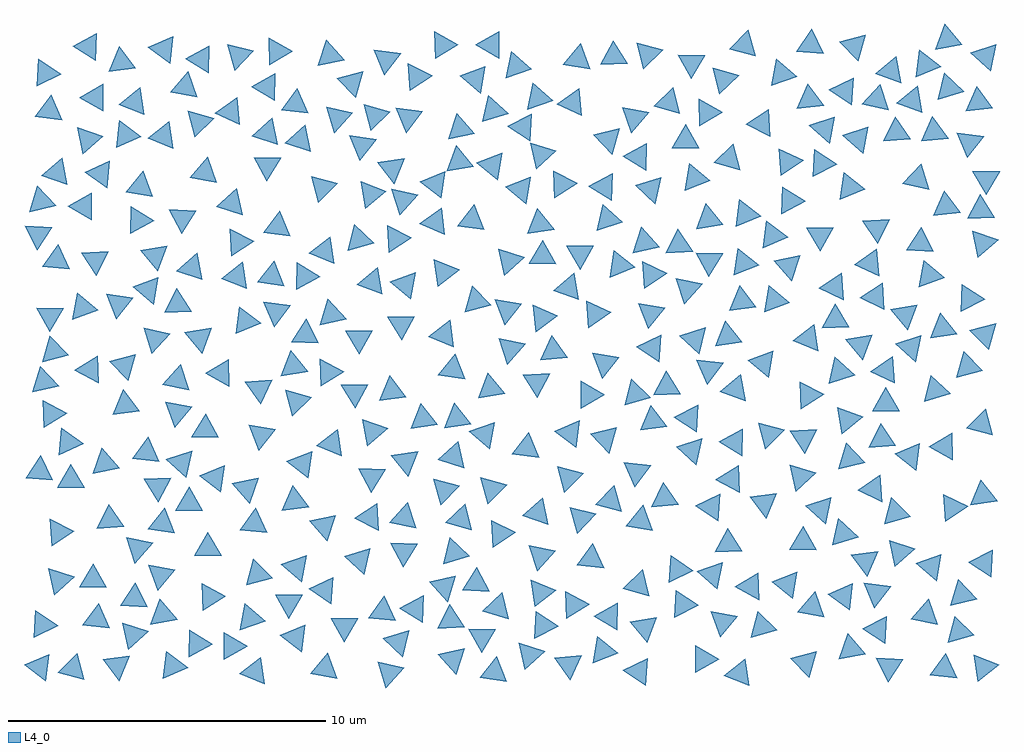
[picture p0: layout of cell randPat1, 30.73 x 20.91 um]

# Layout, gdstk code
from math import pi, radians
import gdstk
lib = gdstk.Library(unit=1e-6, precision=1e-09)
def P(c, l, *ps):  # polygons
    for p in ps: c.add(gdstk.Polygon(p, *l))
L4_0 = (4, 0)

triangles = lib.new_cell('triangles')
P(triangles, L4_0, [(-0.25,-0.433),(-0.25,0.433),(0.5,0)])

randpat1 = lib.new_cell('randPat1')
randpat1.add(gdstk.Reference(triangles, (0.125,13.855), rotation=radians(26.7152)))
randpat1.add(gdstk.Reference(triangles, (0.175,0.241), rotation=radians(172.374)))
randpat1.add(gdstk.Reference(triangles, (0.178,6.396), rotation=radians(205.8935)))
randpat1.add(gdstk.Reference(triangles, (0.214,14.897), rotation=radians(223.3545)))
randpat1.add(gdstk.Reference(triangles, (0.258,1.566), rotation=radians(356.6367)))
randpat1.add(gdstk.Reference(triangles, (0.304,9.22), rotation=radians(103.409)))
randpat1.add(gdstk.Reference(triangles, (0.351,18.929), rotation=radians(236.4467)))
randpat1.add(gdstk.Reference(triangles, (0.478,17.75), rotation=radians(82.8736)))
randpat1.add(gdstk.Reference(triangles, (0.493,11.283), rotation=radians(268.7901)))
randpat1.add(gdstk.Reference(triangles, (0.542,8.203), rotation=radians(241.9927)))
randpat1.add(gdstk.Reference(triangles, (0.613,10.176), rotation=radians(344.5996)))
randpat1.add(gdstk.Reference(triangles, (0.715,13.044), rotation=radians(204.7631)))
randpat1.add(gdstk.Reference(triangles, (0.72,15.786), rotation=radians(310.8337)))
randpat1.add(gdstk.Reference(triangles, (0.769,4.474), rotation=radians(3.4951)))
randpat1.add(gdstk.Reference(triangles, (0.788,2.965), rotation=radians(252.5797)))
randpat1.add(gdstk.Reference(triangles, (1.064,7.311), rotation=radians(354.267)))
randpat1.add(gdstk.Reference(triangles, (1.154,6.121), rotation=radians(210.1675)))
randpat1.add(gdstk.Reference(triangles, (1.231,0.182), rotation=radians(314.9319)))
randpat1.add(gdstk.Reference(triangles, (1.523,11.546), rotation=radians(110.4138)))
randpat1.add(gdstk.Reference(triangles, (1.563,14.733), rotation=radians(300.2675)))
randpat1.add(gdstk.Reference(triangles, (1.69,16.847), rotation=radians(131.0085)))
randpat1.add(gdstk.Reference(triangles, (1.708,19.766), rotation=radians(298.1047)))
randpat1.add(gdstk.Reference(triangles, (1.764,9.587), rotation=radians(301.8776)))
randpat1.add(gdstk.Reference(triangles, (1.857,2.982), rotation=radians(328.8467)))
randpat1.add(gdstk.Reference(triangles, (1.921,13.049), rotation=radians(32.9396)))
randpat1.add(gdstk.Reference(triangles, (1.921,18.159), rotation=radians(299.8303)))
randpat1.add(gdstk.Reference(triangles, (1.977,1.748), rotation=radians(202.9477)))
randpat1.add(gdstk.Reference(triangles, (2.097,15.76), rotation=radians(174.7356)))
randpat1.add(gdstk.Reference(triangles, (2.219,6.647), rotation=radians(101.1628)))
randpat1.add(gdstk.Reference(triangles, (2.385,4.858), rotation=radians(94.109)))
randpat1.add(gdstk.Reference(triangles, (2.614,0.281), rotation=radians(157.6146)))
randpat1.add(gdstk.Reference(triangles, (2.659,11.671), rotation=radians(261.5371)))
randpat1.add(gdstk.Reference(triangles, (2.741,19.278), rotation=radians(217.0076)))
randpat1.add(gdstk.Reference(triangles, (2.841,9.728), rotation=radians(44.7142)))
randpat1.add(gdstk.Reference(triangles, (2.865,8.475), rotation=radians(337.3631)))
randpat1.add(gdstk.Reference(triangles, (2.878,16.983), rotation=radians(233.3643)))
randpat1.add(gdstk.Reference(triangles, (3.11,1.247), rotation=radians(131.8161)))
randpat1.add(gdstk.Reference(triangles, (3.156,2.382), rotation=radians(86.5695)))
randpat1.add(gdstk.Reference(triangles, (3.158,18.012), rotation=radians(308.319)))
randpat1.add(gdstk.Reference(triangles, (3.269,3.979), rotation=radians(258.5452)))
randpat1.add(gdstk.Reference(triangles, (3.281,14.295), rotation=radians(358.1466)))
randpat1.add(gdstk.Reference(triangles, (3.345,15.355), rotation=radians(200.4113)))
randpat1.add(gdstk.Reference(triangles, (3.538,6.987), rotation=radians(204.0079)))
randpat1.add(gdstk.Reference(triangles, (3.591,12.112), rotation=radians(170.3028)))
randpat1.add(gdstk.Reference(triangles, (3.806,13.18), rotation=radians(39.3072)))
randpat1.add(gdstk.Reference(triangles, (3.813,10.575), rotation=radians(257.6172)))
randpat1.add(gdstk.Reference(triangles, (3.889,5.92), rotation=radians(271.8683)))
randpat1.add(gdstk.Reference(triangles, (3.975,3.129), rotation=radians(139.8264)))
randpat1.add(gdstk.Reference(triangles, (4.04,4.755), rotation=radians(201.5518)))
randpat1.add(gdstk.Reference(triangles, (4.041,1.89), rotation=radians(100.7159)))
randpat1.add(gdstk.Reference(triangles, (4.07,16.944), rotation=radians(308.1026)))
randpat1.add(gdstk.Reference(triangles, (4.077,19.686), rotation=radians(53.9081)))
randpat1.add(gdstk.Reference(triangles, (4.351,0.264), rotation=radians(232.8421)))
randpat1.add(gdstk.Reference(triangles, (4.51,8.254), rotation=radians(259.9733)))
randpat1.add(gdstk.Reference(triangles, (4.515,9.274), rotation=radians(78.1505)))
randpat1.add(gdstk.Reference(triangles, (4.516,11.65), rotation=radians(92.326)))
randpat1.add(gdstk.Reference(triangles, (4.639,6.665), rotation=radians(287.8964)))
randpat1.add(gdstk.Reference(triangles, (4.662,14.372), rotation=radians(147.5859)))
randpat1.add(gdstk.Reference(triangles, (4.763,18.493), rotation=radians(199.0092)))
randpat1.add(gdstk.Reference(triangles, (4.88,5.401), rotation=radians(209.4155)))
randpat1.add(gdstk.Reference(triangles, (4.969,12.794), rotation=radians(71.3206)))
randpat1.add(gdstk.Reference(triangles, (5.127,0.957), rotation=radians(118.3928)))
randpat1.add(gdstk.Reference(triangles, (5.187,17.385), rotation=radians(134.8239)))
randpat1.add(gdstk.Reference(triangles, (5.2,10.594), rotation=radians(39.7739)))
randpat1.add(gdstk.Reference(triangles, (5.253,19.367), rotation=radians(58.9335)))
randpat1.add(gdstk.Reference(triangles, (5.374,15.801), rotation=radians(79.6522)))
randpat1.add(gdstk.Reference(triangles, (5.384,7.709), rotation=radians(328.6151)))
randpat1.add(gdstk.Reference(triangles, (5.47,3.98), rotation=radians(209.8052)))
randpat1.add(gdstk.Reference(triangles, (5.538,2.441), rotation=radians(241.9711)))
randpat1.add(gdstk.Reference(triangles, (5.688,6.19), rotation=radians(52.3103)))
randpat1.add(gdstk.Reference(triangles, (5.884,9.478), rotation=radians(180.7064)))
randpat1.add(gdstk.Reference(triangles, (6.184,17.714), rotation=radians(64.8176)))
randpat1.add(gdstk.Reference(triangles, (6.222,0.894), rotation=radians(359.6728)))
randpat1.add(gdstk.Reference(triangles, (6.223,14.83), rotation=radians(72.3226)))
randpat1.add(gdstk.Reference(triangles, (6.385,12.529), rotation=radians(188.3604)))
randpat1.add(gdstk.Reference(triangles, (6.431,19.495), rotation=radians(255.6452)))
randpat1.add(gdstk.Reference(triangles, (6.435,13.61), rotation=radians(122.8261)))
randpat1.add(gdstk.Reference(triangles, (6.646,11.119), rotation=radians(112.9724)))
randpat1.add(gdstk.Reference(triangles, (6.69,5.862), rotation=radians(281.3253)))
randpat1.add(gdstk.Reference(triangles, (6.801,1.765), rotation=radians(349.2717)))
randpat1.add(gdstk.Reference(triangles, (6.93,4.749), rotation=radians(84.1623)))
randpat1.add(gdstk.Reference(triangles, (6.947,0.081), rotation=radians(187.7616)))
randpat1.add(gdstk.Reference(triangles, (7.029,3.153), rotation=radians(224.4428)))
randpat1.add(gdstk.Reference(triangles, (7.085,8.996), rotation=radians(34.6934)))
randpat1.add(gdstk.Reference(triangles, (7.146,7.538), rotation=radians(261.0694)))
randpat1.add(gdstk.Reference(triangles, (7.335,18.493), rotation=radians(58.3348)))
randpat1.add(gdstk.Reference(triangles, (7.34,17.045), rotation=radians(71.1589)))
randpat1.add(gdstk.Reference(triangles, (7.341,16.024), rotation=radians(268.2663)))
randpat1.add(gdstk.Reference(triangles, (7.484,12.532), rotation=radians(201.9083)))
randpat1.add(gdstk.Reference(triangles, (7.617,11.425), rotation=radians(263.0262)))
randpat1.add(gdstk.Reference(triangles, (7.647,19.607), rotation=radians(0.7292)))
randpat1.add(gdstk.Reference(triangles, (7.669,14.095), rotation=radians(322.0382)))
randpat1.add(gdstk.Reference(triangles, (8.019,2.257), rotation=radians(29.2859)))
randpat1.add(gdstk.Reference(triangles, (8.156,9.703), rotation=radians(339.0074)))
randpat1.add(gdstk.Reference(triangles, (8.198,5.454), rotation=radians(97.1014)))
randpat1.add(gdstk.Reference(triangles, (8.228,17.962), rotation=radians(324.0767)))
randpat1.add(gdstk.Reference(triangles, (8.231,1.165), rotation=radians(51.9635)))
randpat1.add(gdstk.Reference(triangles, (8.251,8.603), rotation=radians(254.6403)))
randpat1.add(gdstk.Reference(triangles, (8.257,3.377), rotation=radians(288.9064)))
randpat1.add(gdstk.Reference(triangles, (8.376,16.827), rotation=radians(71.5611)))
randpat1.add(gdstk.Reference(triangles, (8.437,6.632), rotation=radians(51.6453)))
randpat1.add(gdstk.Reference(triangles, (8.507,12.529), rotation=radians(118.5283)))
randpat1.add(gdstk.Reference(triangles, (8.541,10.692), rotation=radians(207.6822)))
randpat1.add(gdstk.Reference(triangles, (9.072,15.331), rotation=radians(255.4131)))
randpat1.add(gdstk.Reference(triangles, (9.129,4.676), rotation=radians(41.7144)))
randpat1.add(gdstk.Reference(triangles, (9.133,13.319), rotation=radians(67.8879)))
randpat1.add(gdstk.Reference(triangles, (9.136,2.653), rotation=radians(295.4017)))
randpat1.add(gdstk.Reference(triangles, (9.157,0.189), rotation=radians(199.5003)))
randpat1.add(gdstk.Reference(triangles, (9.264,9.505), rotation=radians(2.0521)))
randpat1.add(gdstk.Reference(triangles, (9.298,19.496), rotation=radians(221.2466)))
randpat1.add(gdstk.Reference(triangles, (9.359,11.332), rotation=radians(102.5706)))
randpat1.add(gdstk.Reference(triangles, (9.372,7.26), rotation=radians(67.9538)))
randpat1.add(gdstk.Reference(triangles, (9.56,17.531), rotation=radians(137.4001)))
randpat1.add(gdstk.Reference(triangles, (9.768,1.517), rotation=radians(149.1072)))
randpat1.add(gdstk.Reference(triangles, (10.001,18.631), rotation=radians(44.6051)))
randpat1.add(gdstk.Reference(triangles, (10.093,8.88), rotation=radians(150.8982)))
randpat1.add(gdstk.Reference(triangles, (10.218,13.69), rotation=radians(106.2906)))
randpat1.add(gdstk.Reference(triangles, (10.225,10.579), rotation=radians(271.0979)))
randpat1.add(gdstk.Reference(triangles, (10.243,3.607), rotation=radians(46.8979)))
randpat1.add(gdstk.Reference(triangles, (10.314,16.662), rotation=radians(21.9022)))
randpat1.add(gdstk.Reference(triangles, (10.573,4.939), rotation=radians(183.3935)))
randpat1.add(gdstk.Reference(triangles, (10.595,15.132), rotation=radians(249.2661)))
randpat1.add(gdstk.Reference(triangles, (10.623,6.218), rotation=radians(27.9232)))
randpat1.add(gdstk.Reference(triangles, (10.641,12.346), rotation=radians(69.7132)))
randpat1.add(gdstk.Reference(triangles, (10.656,7.652), rotation=radians(10.1993)))
randpat1.add(gdstk.Reference(triangles, (10.734,17.591), rotation=radians(254.5503)))
randpat1.add(gdstk.Reference(triangles, (10.972,1.974), rotation=radians(204.9272)))
randpat1.add(gdstk.Reference(triangles, (11.093,19.36), rotation=radians(22.349)))
randpat1.add(gdstk.Reference(triangles, (11.181,0.056), rotation=radians(257.2752)))
randpat1.add(gdstk.Reference(triangles, (11.26,8.921), rotation=radians(337.1011)))
randpat1.add(gdstk.Reference(triangles, (11.27,15.932), rotation=radians(38.1981)))
randpat1.add(gdstk.Reference(triangles, (11.388,13.724), rotation=radians(243.3775)))
randpat1.add(gdstk.Reference(triangles, (11.463,1.022), rotation=radians(285.9035)))
randpat1.add(gdstk.Reference(triangles, (11.558,11.014), rotation=radians(271.0057)))
randpat1.add(gdstk.Reference(triangles, (11.619,14.948), rotation=radians(17.6024)))
randpat1.add(gdstk.Reference(triangles, (11.635,3.872), rotation=radians(28.2208)))
randpat1.add(gdstk.Reference(triangles, (11.653,4.929), rotation=radians(77.7326)))
randpat1.add(gdstk.Reference(triangles, (11.685,12.273), rotation=radians(170.0995)))
randpat1.add(gdstk.Reference(triangles, (11.699,6.712), rotation=radians(279.0202)))
randpat1.add(gdstk.Reference(triangles, (11.779,17.538), rotation=radians(22.5819)))
randpat1.add(gdstk.Reference(triangles, (11.996,2.07), rotation=radians(58.1381)))
randpat1.add(gdstk.Reference(triangles, (12.047,18.817), rotation=radians(243.9349)))
randpat1.add(gdstk.Reference(triangles, (12.248,8.037), rotation=radians(218.5088)))
randpat1.add(gdstk.Reference(triangles, (12.628,14.239), rotation=radians(305.5959)))
randpat1.add(gdstk.Reference(triangles, (12.634,15.446), rotation=radians(172.3154)))
randpat1.add(gdstk.Reference(triangles, (12.858,19.815), rotation=radians(241.6084)))
randpat1.add(gdstk.Reference(triangles, (12.897,12.671), rotation=radians(8.4677)))
randpat1.add(gdstk.Reference(triangles, (12.903,10.698), rotation=radians(307.0685)))
randpat1.add(gdstk.Reference(triangles, (12.912,2.761), rotation=radians(162.6929)))
randpat1.add(gdstk.Reference(triangles, (12.921,5.803), rotation=radians(16.0295)))
randpat1.add(gdstk.Reference(triangles, (13.11,1.708), rotation=radians(92.7743)))
randpat1.add(gdstk.Reference(triangles, (13.178,9.605), rotation=radians(81.1701)))
randpat1.add(gdstk.Reference(triangles, (13.187,0.483), rotation=radians(42.0771)))
randpat1.add(gdstk.Reference(triangles, (13.197,6.859), rotation=radians(72.3497)))
randpat1.add(gdstk.Reference(triangles, (13.221,3.836), rotation=radians(226.804)))
randpat1.add(gdstk.Reference(triangles, (13.299,8.058), rotation=radians(98.2137)))
randpat1.add(gdstk.Reference(triangles, (13.371,16.16), rotation=radians(99.0095)))
randpat1.add(gdstk.Reference(triangles, (13.404,17.178), rotation=radians(341.6503)))
randpat1.add(gdstk.Reference(triangles, (13.434,4.894), rotation=radians(313.445)))
randpat1.add(gdstk.Reference(triangles, (13.778,14.3), rotation=radians(81.6514)))
randpat1.add(gdstk.Reference(triangles, (13.884,18.756), rotation=radians(170.1364)))
randpat1.add(gdstk.Reference(triangles, (13.911,11.752), rotation=radians(344.6227)))
randpat1.add(gdstk.Reference(triangles, (13.921,2.873), rotation=radians(87.6629)))
randpat1.add(gdstk.Reference(triangles, (14.099,1.183), rotation=radians(29.1813)))
randpat1.add(gdstk.Reference(triangles, (14.174,7.555), rotation=radians(168.9637)))
randpat1.add(gdstk.Reference(triangles, (14.366,9.008), rotation=radians(339.8553)))
randpat1.add(gdstk.Reference(triangles, (14.39,19.821), rotation=radians(179.8641)))
randpat1.add(gdstk.Reference(triangles, (14.403,5.845), rotation=radians(134.8673)))
randpat1.add(gdstk.Reference(triangles, (14.42,16.028), rotation=radians(51.1871)))
randpat1.add(gdstk.Reference(triangles, (14.447,17.762), rotation=radians(347.4769)))
randpat1.add(gdstk.Reference(triangles, (14.49,0.075), rotation=radians(202.2551)))
randpat1.add(gdstk.Reference(triangles, (14.601,2.099), rotation=radians(313.4281)))
randpat1.add(gdstk.Reference(triangles, (14.664,4.433), rotation=radians(123.8615)))
randpat1.add(gdstk.Reference(triangles, (14.886,11.489), rotation=radians(21.2867)))
randpat1.add(gdstk.Reference(triangles, (14.955,13.024), rotation=radians(132.5873)))
randpat1.add(gdstk.Reference(triangles, (14.995,10.244), rotation=radians(18.3638)))
randpat1.add(gdstk.Reference(triangles, (15.179,19.141), rotation=radians(348.9894)))
randpat1.add(gdstk.Reference(triangles, (15.318,15.274), rotation=radians(291.1346)))
randpat1.add(gdstk.Reference(triangles, (15.393,17.228), rotation=radians(176.1247)))
randpat1.add(gdstk.Reference(triangles, (15.503,7.125), rotation=radians(82.3424)))
randpat1.add(gdstk.Reference(triangles, (15.596,0.621), rotation=radians(131.6834)))
randpat1.add(gdstk.Reference(triangles, (15.823,9.207), rotation=radians(32.1998)))
randpat1.add(gdstk.Reference(triangles, (15.857,18.151), rotation=radians(349.3646)))
randpat1.add(gdstk.Reference(triangles, (15.859,5.086), rotation=radians(311.2791)))
randpat1.add(gdstk.Reference(triangles, (15.92,14.179), rotation=radians(98.8739)))
randpat1.add(gdstk.Reference(triangles, (15.941,3.729), rotation=radians(138.9456)))
randpat1.add(gdstk.Reference(triangles, (15.946,2.585), rotation=radians(127.9893)))
randpat1.add(gdstk.Reference(triangles, (15.953,16.375), rotation=radians(132.7978)))
randpat1.add(gdstk.Reference(triangles, (15.991,11.237), rotation=radians(246.6057)))
randpat1.add(gdstk.Reference(triangles, (16.003,13.166), rotation=radians(208.9138)))
randpat1.add(gdstk.Reference(triangles, (16.024,1.541), rotation=radians(356.7204)))
randpat1.add(gdstk.Reference(triangles, (16.348,10.184), rotation=radians(95.272)))
randpat1.add(gdstk.Reference(triangles, (16.608,15.438), rotation=radians(122.2881)))
randpat1.add(gdstk.Reference(triangles, (16.824,6.197), rotation=radians(15.1542)))
randpat1.add(gdstk.Reference(triangles, (16.83,12.171), rotation=radians(190.1929)))
randpat1.add(gdstk.Reference(triangles, (16.833,0.315), rotation=radians(35.4016)))
randpat1.add(gdstk.Reference(triangles, (16.871,7.595), rotation=radians(52.8304)))
randpat1.add(gdstk.Reference(triangles, (16.95,17.996), rotation=radians(65.9659)))
randpat1.add(gdstk.Reference(triangles, (16.986,2.186), rotation=radians(1.6628)))
randpat1.add(gdstk.Reference(triangles, (17.117,19.372), rotation=radians(320.2867)))
randpat1.add(gdstk.Reference(triangles, (17.183,13.245), rotation=radians(150.4185)))
randpat1.add(gdstk.Reference(triangles, (17.22,4.918), rotation=radians(136.7618)))
randpat1.add(gdstk.Reference(triangles, (17.462,8.804), rotation=radians(0.3047)))
randpat1.add(gdstk.Reference(triangles, (17.535,3.633), rotation=radians(84.2215)))
randpat1.add(gdstk.Reference(triangles, (17.663,11.355), rotation=radians(244.7566)))
randpat1.add(gdstk.Reference(triangles, (17.902,0.738), rotation=radians(111.2511)))
randpat1.add(gdstk.Reference(triangles, (17.951,15.353), rotation=radians(58.0542)))
randpat1.add(gdstk.Reference(triangles, (17.96,9.805), rotation=radians(140.9357)))
randpat1.add(gdstk.Reference(triangles, (17.981,7.434), rotation=radians(283.9181)))
randpat1.add(gdstk.Reference(triangles, (18.048,14.332), rotation=radians(107.7635)))
randpat1.add(gdstk.Reference(triangles, (18.08,16.848), rotation=radians(283.3935)))
randpat1.add(gdstk.Reference(triangles, (18.113,1.825), rotation=radians(298.7699)))
randpat1.add(gdstk.Reference(triangles, (18.145,5.474), rotation=radians(75.5224)))
randpat1.add(gdstk.Reference(triangles, (18.244,19.456), rotation=radians(91.4275)))
randpat1.add(gdstk.Reference(triangles, (18.434,12.889), rotation=radians(112.1729)))
randpat1.add(gdstk.Reference(triangles, (18.897,17.532), rotation=radians(259.2812)))
randpat1.add(gdstk.Reference(triangles, (18.935,8.826), rotation=radians(225.7711)))
randpat1.add(gdstk.Reference(triangles, (18.968,6.387), rotation=radians(24.0422)))
randpat1.add(gdstk.Reference(triangles, (19.022,2.822), rotation=radians(74.5099)))
randpat1.add(gdstk.Reference(triangles, (19.025,16.299), rotation=radians(299.0278)))
randpat1.add(gdstk.Reference(triangles, (19.032,0.09), rotation=radians(175.9506)))
randpat1.add(gdstk.Reference(triangles, (19.093,4.841), rotation=radians(80.8691)))
randpat1.add(gdstk.Reference(triangles, (19.22,13.597), rotation=radians(101.9982)))
randpat1.add(gdstk.Reference(triangles, (19.222,1.485), rotation=radians(39.7969)))
randpat1.add(gdstk.Reference(triangles, (19.315,19.535), rotation=radians(254.3267)))
randpat1.add(gdstk.Reference(triangles, (19.407,15.285), rotation=radians(167.2008)))
randpat1.add(gdstk.Reference(triangles, (19.408,11.367), rotation=radians(140.9077)))
randpat1.add(gdstk.Reference(triangles, (19.432,12.587), rotation=radians(4.2895)))
randpat1.add(gdstk.Reference(triangles, (19.462,10.283), rotation=radians(175.9275)))
randpat1.add(gdstk.Reference(triangles, (19.474,7.984), rotation=radians(337.4473)))
randpat1.add(gdstk.Reference(triangles, (19.842,5.549), rotation=radians(94.7505)))
randpat1.add(gdstk.Reference(triangles, (19.917,9.056), rotation=radians(92.2912)))
randpat1.add(gdstk.Reference(triangles, (19.985,18.01), rotation=radians(73.5316)))
randpat1.add(gdstk.Reference(triangles, (20.259,3.298), rotation=radians(115.6133)))
randpat1.add(gdstk.Reference(triangles, (20.296,13.529), rotation=radians(213.5341)))
randpat1.add(gdstk.Reference(triangles, (20.43,2.207), rotation=radians(116.6098)))
randpat1.add(gdstk.Reference(triangles, (20.509,16.816), rotation=radians(90.2477)))
randpat1.add(gdstk.Reference(triangles, (20.574,12.145), rotation=radians(258.4222)))
randpat1.add(gdstk.Reference(triangles, (20.636,8.068), rotation=radians(177.2159)))
randpat1.add(gdstk.Reference(triangles, (20.693,19.252), rotation=radians(148.5729)))
randpat1.add(gdstk.Reference(triangles, (20.697,7.06), rotation=radians(47.3944)))
randpat1.add(gdstk.Reference(triangles, (20.796,15.621), rotation=radians(350.9764)))
randpat1.add(gdstk.Reference(triangles, (20.797,10.554), rotation=radians(47.3225)))
randpat1.add(gdstk.Reference(triangles, (21.065,0.486), rotation=radians(359.6337)))
randpat1.add(gdstk.Reference(triangles, (21.185,17.687), rotation=radians(120.9555)))
randpat1.add(gdstk.Reference(triangles, (21.233,14.335), rotation=radians(99.725)))
randpat1.add(gdstk.Reference(triangles, (21.246,9.607), rotation=radians(263.3885)))
randpat1.add(gdstk.Reference(triangles, (21.251,13.013), rotation=radians(148.6412)))
randpat1.add(gdstk.Reference(triangles, (21.313,5.267), rotation=radians(55.7115)))
randpat1.add(gdstk.Reference(triangles, (21.348,3.154), rotation=radians(168.6432)))
randpat1.add(gdstk.Reference(triangles, (21.684,1.656), rotation=radians(19.8172)))
randpat1.add(gdstk.Reference(triangles, (21.715,18.742), rotation=radians(13.5915)))
randpat1.add(gdstk.Reference(triangles, (21.832,10.637), rotation=radians(98.2134)))
randpat1.add(gdstk.Reference(triangles, (21.857,4.107), rotation=radians(211.9125)))
randpat1.add(gdstk.Reference(triangles, (21.875,16.225), rotation=radians(73.9609)))
randpat1.add(gdstk.Reference(triangles, (21.949,6.142), rotation=radians(302.1803)))
randpat1.add(gdstk.Reference(triangles, (22.05,7.311), rotation=radians(298.0873)))
randpat1.add(gdstk.Reference(triangles, (22.078,8.983), rotation=radians(190.0192)))
randpat1.add(gdstk.Reference(triangles, (22.201,0.029), rotation=radians(307.6618)))
randpat1.add(gdstk.Reference(triangles, (22.276,11.755), rotation=radians(337.2391)))
randpat1.add(gdstk.Reference(triangles, (22.332,12.952), rotation=radians(231.7308)))
randpat1.add(gdstk.Reference(triangles, (22.36,19.814), rotation=radians(196.0762)))
randpat1.add(gdstk.Reference(triangles, (22.391,14.491), rotation=radians(352.1934)))
randpat1.add(gdstk.Reference(triangles, (22.562,2.768), rotation=radians(301.1412)))
randpat1.add(gdstk.Reference(triangles, (22.899,17.346), rotation=radians(183.2776)))
randpat1.add(gdstk.Reference(triangles, (22.907,1.51), rotation=radians(225.3034)))
randpat1.add(gdstk.Reference(triangles, (22.957,9.801), rotation=radians(290.4829)))
randpat1.add(gdstk.Reference(triangles, (22.99,5.4), rotation=radians(277.5255)))
randpat1.add(gdstk.Reference(triangles, (23.147,7.573), rotation=radians(254.7821)))
randpat1.add(gdstk.Reference(triangles, (23.24,13.82), rotation=radians(112.9848)))
randpat1.add(gdstk.Reference(triangles, (23.3,11.783), rotation=radians(350.6948)))
randpat1.add(gdstk.Reference(triangles, (23.528,18.908), rotation=radians(109.1902)))
randpat1.add(gdstk.Reference(triangles, (23.712,2.842), rotation=radians(170.8911)))
randpat1.add(gdstk.Reference(triangles, (23.724,16.145), rotation=radians(244.8543)))
randpat1.add(gdstk.Reference(triangles, (23.753,12.869), rotation=radians(281.6995)))
randpat1.add(gdstk.Reference(triangles, (23.791,14.908), rotation=radians(357.7688)))
randpat1.add(gdstk.Reference(triangles, (24.131,6.233), rotation=radians(252.8467)))
randpat1.add(gdstk.Reference(triangles, (24.21,4.162), rotation=radians(208.744)))
randpat1.add(gdstk.Reference(triangles, (24.232,7.445), rotation=radians(33.644)))
randpat1.add(gdstk.Reference(triangles, (24.285,0.375), rotation=radians(163.8076)))
randpat1.add(gdstk.Reference(triangles, (24.37,8.793), rotation=radians(2.476)))
randpat1.add(gdstk.Reference(triangles, (24.374,10.567), rotation=radians(67.4627)))
randpat1.add(gdstk.Reference(triangles, (24.413,18.103), rotation=radians(215.7911)))
randpat1.add(gdstk.Reference(triangles, (24.443,19.821), rotation=radians(205.1216)))
randpat1.add(gdstk.Reference(triangles, (24.499,2.12), rotation=radians(78.9022)))
randpat1.add(gdstk.Reference(triangles, (24.746,13.819), rotation=radians(30.2532)))
randpat1.add(gdstk.Reference(triangles, (24.76,5.205), rotation=radians(48.9856)))
randpat1.add(gdstk.Reference(triangles, (24.787,16.08), rotation=radians(356.815)))
randpat1.add(gdstk.Reference(triangles, (24.883,17.185), rotation=radians(169.0263)))
randpat1.add(gdstk.Reference(triangles, (25.206,12.192), rotation=radians(303.8128)))
randpat1.add(gdstk.Reference(triangles, (25.229,11.165), rotation=radians(91.553)))
randpat1.add(gdstk.Reference(triangles, (25.357,9.517), rotation=radians(108.107)))
randpat1.add(gdstk.Reference(triangles, (25.466,4.431), rotation=radians(107.4008)))
randpat1.add(gdstk.Reference(triangles, (25.482,2.471), rotation=radians(53.7407)))
randpat1.add(gdstk.Reference(triangles, (25.522,18.366), rotation=radians(175.1299)))
randpat1.add(gdstk.Reference(triangles, (25.605,8.028), rotation=radians(129.1156)))
randpat1.add(gdstk.Reference(triangles, (25.672,15.343), rotation=radians(231.9377)))
randpat1.add(gdstk.Reference(triangles, (25.686,6.801), rotation=radians(343.4121)))
randpat1.add(gdstk.Reference(triangles, (25.702,0.795), rotation=radians(220.8732)))
randpat1.add(gdstk.Reference(triangles, (25.822,19.782), rotation=radians(165.0069)))
randpat1.add(gdstk.Reference(triangles, (25.935,16.87), rotation=radians(48.9621)))
randpat1.add(gdstk.Reference(triangles, (26.001,10.38), rotation=radians(39.659)))
randpat1.add(gdstk.Reference(triangles, (26.166,3.569), rotation=radians(276.6877)))
randpat1.add(gdstk.Reference(triangles, (26.322,12.941), rotation=radians(305.426)))
randpat1.add(gdstk.Reference(triangles, (26.42,5.83), rotation=radians(304.4441)))
randpat1.add(gdstk.Reference(triangles, (26.489,11.889), rotation=radians(63.2721)))
randpat1.add(gdstk.Reference(triangles, (26.516,2.578), rotation=radians(142.559)))
randpat1.add(gdstk.Reference(triangles, (26.526,14.053), rotation=radians(33.8839)))
randpat1.add(gdstk.Reference(triangles, (26.537,18.095), rotation=radians(197.8115)))
randpat1.add(gdstk.Reference(triangles, (26.574,1.414), rotation=radians(297.221)))
randpat1.add(gdstk.Reference(triangles, (26.685,7.414), rotation=radians(333.7728)))
randpat1.add(gdstk.Reference(triangles, (26.816,9.569), rotation=radians(184.7826)))
randpat1.add(gdstk.Reference(triangles, (26.819,8.536), rotation=radians(210.5663)))
randpat1.add(gdstk.Reference(triangles, (26.912,0.25), rotation=radians(146.6207)))
randpat1.add(gdstk.Reference(triangles, (26.974,18.995), rotation=radians(190.7476)))
randpat1.add(gdstk.Reference(triangles, (27.11,5.087), rotation=radians(225.0169)))
randpat1.add(gdstk.Reference(triangles, (27.144,17.064), rotation=radians(213.9973)))
randpat1.add(gdstk.Reference(triangles, (27.257,3.855), rotation=radians(251.8589)))
randpat1.add(gdstk.Reference(triangles, (27.419,11.326), rotation=radians(159.4028)))
randpat1.add(gdstk.Reference(triangles, (27.585,6.874), rotation=radians(52.6026)))
randpat1.add(gdstk.Reference(triangles, (27.603,10.304), rotation=radians(288.6044)))
randpat1.add(gdstk.Reference(triangles, (27.64,18.064), rotation=radians(309.9274)))
randpat1.add(gdstk.Reference(triangles, (27.815,15.59), rotation=radians(77.4296)))
randpat1.add(gdstk.Reference(triangles, (27.904,13.579), rotation=radians(206.5334)))
randpat1.add(gdstk.Reference(triangles, (28.059,19.195), rotation=radians(352.416)))
randpat1.add(gdstk.Reference(triangles, (28.073,1.896), rotation=radians(318.8865)))
randpat1.add(gdstk.Reference(triangles, (28.177,12.572), rotation=radians(229.528)))
randpat1.add(gdstk.Reference(triangles, (28.245,3.404), rotation=radians(290.0825)))
randpat1.add(gdstk.Reference(triangles, (28.335,17.072), rotation=radians(336.2052)))
randpat1.add(gdstk.Reference(triangles, (28.366,8.944), rotation=radians(226.5231)))
randpat1.add(gdstk.Reference(triangles, (28.601,10.892), rotation=radians(98.6172)))
randpat1.add(gdstk.Reference(triangles, (28.65,0.168), rotation=radians(204.0182)))
randpat1.add(gdstk.Reference(triangles, (28.66,7.172), rotation=radians(60.6789)))
randpat1.add(gdstk.Reference(triangles, (28.715,14.733), rotation=radians(216.646)))
randpat1.add(gdstk.Reference(triangles, (28.756,19.985), rotation=radians(100.2228)))
randpat1.add(gdstk.Reference(triangles, (28.793,18.457), rotation=radians(226.7127)))
randpat1.add(gdstk.Reference(triangles, (28.906,5.254), rotation=radians(124.0346)))
randpat1.add(gdstk.Reference(triangles, (29.109,1.353), rotation=radians(105.0949)))
randpat1.add(gdstk.Reference(triangles, (29.209,2.51), rotation=radians(223.6901)))
randpat1.add(gdstk.Reference(triangles, (29.389,9.693), rotation=radians(344.8807)))
randpat1.add(gdstk.Reference(triangles, (29.436,11.835), rotation=radians(117.8494)))
randpat1.add(gdstk.Reference(triangles, (29.442,16.753), rotation=radians(262.4218)))
randpat1.add(gdstk.Reference(triangles, (29.728,18.026), rotation=radians(336.5673)))
randpat1.add(gdstk.Reference(triangles, (29.805,14.61), rotation=radians(331.6923)))
randpat1.add(gdstk.Reference(triangles, (29.829,7.882), rotation=radians(315.088)))
randpat1.add(gdstk.Reference(triangles, (29.871,13.591), rotation=radians(131.3381)))
randpat1.add(gdstk.Reference(triangles, (29.872,5.635), rotation=radians(337.4473)))
randpat1.add(gdstk.Reference(triangles, (29.887,0.227), rotation=radians(248.2619)))
randpat1.add(gdstk.Reference(triangles, (29.908,3.5), rotation=radians(176.0836)))
randpat1.add(gdstk.Reference(triangles, (29.926,10.705), rotation=radians(44.4007)))
randpat1.add(gdstk.Reference(triangles, (29.959,19.461), rotation=radians(287.7533)))
randpat1.add(gdstk.Reference(triangles, (29.975,15.595), rotation=radians(270.0238)))

lib.write_gds('randPat1.gds')
